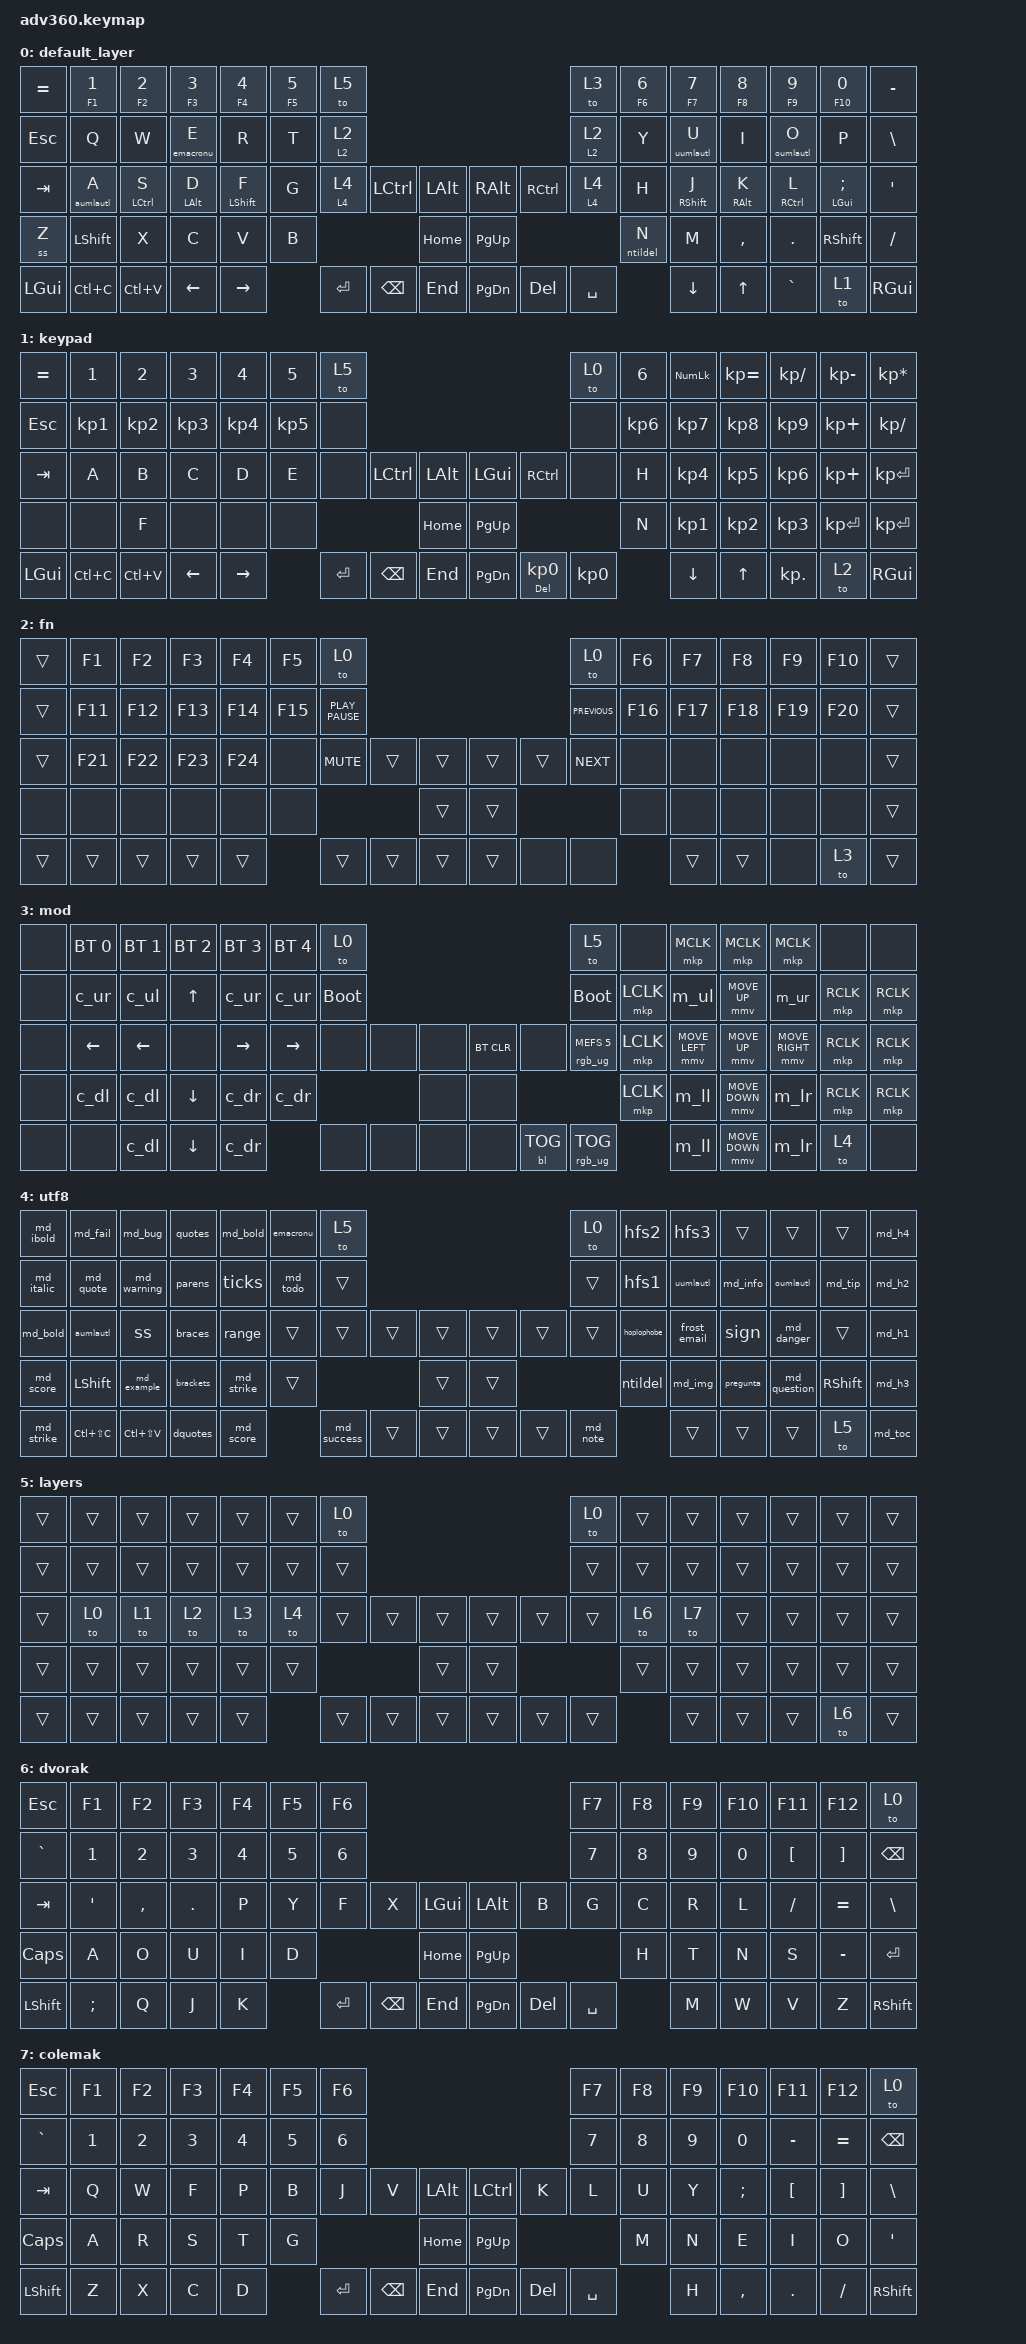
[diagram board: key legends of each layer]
#include <dt-bindings/zmk/mouse.h>
#include <behaviors.dtsi>
#include <dt-bindings/zmk/backlight.h>
#include <dt-bindings/zmk/bt.h>
#include <dt-bindings/zmk/keys.h>
#include <dt-bindings/zmk/pointing.h>
#include <dt-bindings/zmk/rgb.h>

/ {
    behaviors {
        #include "macros.dtsi"
      #include "version.dtsi"
      #ifndef VERSION_MACRO


        #endif

        hm: homerow_mods {
            compatible = "zmk,behavior-hold-tap";
            label = "HOMEROW_MODS";
            #binding-cells = <2>;
            tapping-term-ms = <200>;
            quick_tap_ms = <175>;
            flavor = "tap-preferred";
            bindings = <&kp>, <&kp>;
        };

        macrotapo: macrotapo {
            compatible = "zmk,behavior-hold-tap";
            label = "MACROTAPO";
            #binding-cells = <2>;
            tapping-term-ms = <200>;
            quick_tap_ms = <175>;
            flavor = "tap-preferred";
            bindings = <&oumlautl>, <&kp>;
        };

        macrotapu: macrotapu {
            compatible = "zmk,behavior-hold-tap";
            label = "MACROTAPU";
            #binding-cells = <2>;
            tapping-term-ms = <200>;
            quick_tap_ms = <175>;
            flavor = "tap-preferred";
            bindings = <&uumlautl>, <&kp>;
        };

        macrotapa: macrotapa {
            compatible = "zmk,behavior-hold-tap";
            label = "MACROTAPA";
            #binding-cells = <2>;
            tapping-term-ms = <200>;
            quick_tap_ms = <175>;
            flavor = "tap-preferred";
            bindings = <&aumlautl>, <&kp>;
        };

        macrotaps: macrotaps {
            compatible = "zmk,behavior-hold-tap";
            label = "MACROTAPS";
            #binding-cells = <2>;
            tapping-term-ms = <200>;
            quick_tap_ms = <175>;
            flavor = "tap-preferred";
            bindings = <&ss>, <&kp>;
        };

        macrotape: macrotape {
            compatible = "zmk,behavior-hold-tap";
            label = "MACROTAPE";
            #binding-cells = <2>;
            tapping-term-ms = <200>;
            quick_tap_ms = <175>;
            flavor = "tap-preferred";
            bindings = <&emacronu>, <&kp>;
        };

        macrotopn: macrotopn {
            compatible = "zmk,behavior-hold-tap";
            label = "MACROTOPN";
            #binding-cells = <2>;
            tapping-term-ms = <200>;
            quick_tap_ms = <175>;
            flavor = "tap-preferred";
            bindings = <&ntildel>, <&kp>;
        };

        macrotapfn: macrotapfn {
            compatible = "zmk,behavior-hold-tap";
            label = "MACROTAPFN";
            #binding-cells = <2>;
            tapping-term-ms = <200>;
            quick_tap_ms = <175>;
            flavor = "tap-preferred";
            bindings = <&kp>, <&kp>;
        };

        lmt: lmt {
            compatible = "zmk,behavior-hold-tap";
            label = "LMT";
            bindings = <&mo>, <&to>;

            #binding-cells = <2>;
            tapping-term-ms = <200>;
        };
    };

    macros {
        c_ul: c_ul {
            compatible = "zmk,behavior-macro";
            #binding-cells = <0>;
            bindings = <&kp UP_ARROW &kp LEFT>;
            label = "C_UL";
        };

        c_ur: c_ur {
            compatible = "zmk,behavior-macro";
            #binding-cells = <0>;
            bindings = <&kp UP_ARROW &kp RIGHT>;
            label = "C_UR";
        };

        c_dl: c_dl {
            compatible = "zmk,behavior-macro";
            #binding-cells = <0>;
            bindings = <&kp DOWN_ARROW &kp LEFT>;
            label = "C_DL";
        };

        c_dr: c_dr {
            compatible = "zmk,behavior-macro";
            #binding-cells = <0>;
            bindings = <&kp DOWN_ARROW &kp RIGHT>;
            label = "C_DR";
        };

        hoplophobe: hoplophobe {
            compatible = "zmk,behavior-macro";
            #binding-cells = <0>;
            bindings = <&kp LS(H) &kp O &kp P &kp L &kp O &kp P &kp H &kp O &kp B &kp E &kp N1 &kp EXCL &kp RET>;
            label = "HOPLOPHOBE";
        };

        aumlautl: aumlautl {
            compatible = "zmk,behavior-macro";
            #binding-cells = <0>;
            bindings = <&kp LG(A) &kp DOUBLE_QUOTES>;
            label = "AUMLAUTL";
        };

        ss: ss {
            compatible = "zmk,behavior-macro";
            #binding-cells = <0>;
            bindings = <&kp LG(S) &kp S>;
            label = "SS";
        };

        oumlautl: oumlautl {
            compatible = "zmk,behavior-macro";
            #binding-cells = <0>;
            bindings = <&kp LG(O) &kp DOUBLE_QUOTES>;
            label = "OUMLAUTL";
        };

        uumlautl: uumlautl {
            compatible = "zmk,behavior-macro";
            #binding-cells = <0>;
            bindings = <&kp LG(U) &kp DOUBLE_QUOTES>;
            label = "UUMLAUTL";
        };

        ntildel: ntildel {
            compatible = "zmk,behavior-macro";
            #binding-cells = <0>;
            bindings = <&kp LG(N) &kp TILDE>;
            label = "NTILDEL";
        };

        md_ibold: md_ibold {
            compatible = "zmk,behavior-macro";
            #binding-cells = <0>;
            bindings = <&kp STAR &kp STAR &kp STAR &kp STAR &kp STAR &kp STAR &kp LEFT_ARROW &kp LEFT_ARROW &kp LEFT>;
            label = "MD_IBOLD";
        };

        md_bold: md_bold {
            compatible = "zmk,behavior-macro";
            #binding-cells = <0>;
            bindings = <&kp STAR &kp STAR &kp STAR &kp STAR &kp LEFT_ARROW &kp LEFT>;
            label = "MD_BOLD";
        };

        md_italic: md_italic {
            compatible = "zmk,behavior-macro";
            #binding-cells = <0>;
            bindings = <&kp STAR &kp STAR &kp LEFT>;
            label = "MD_ITALIC";
        };

        md_score: md_score {
            compatible = "zmk,behavior-macro";
            #binding-cells = <0>;
            bindings = <&kp LT &kp U &kp GT &kp LT &kp FSLH &kp U &kp GT &kp LEFT_ARROW &kp LEFT &kp LEFT_ARROW &kp LEFT>;
            label = "MD_SCORE";
        };

        md_strike: md_strike {
            compatible = "zmk,behavior-macro";
            #binding-cells = <0>;
            bindings = <&kp TILDE &kp TILDE &kp TILDE &kp TILDE &kp LEFT_ARROW &kp LEFT>;
            label = "MD_STRIKE";
        };

        md_h4: md_h4 {
            compatible = "zmk,behavior-macro";
            #binding-cells = <0>;
            bindings = <&kp ESCAPE &kp LS(G) &kp LS(O) &kp ENTER &kp POUND &kp POUND &kp POUND &kp POUND &kp SPACE>;
            label = "MD_H4";
        };

        md_h3: md_h3 {
            compatible = "zmk,behavior-macro";
            #binding-cells = <0>;
            bindings = <&kp ESCAPE &kp LS(G) &kp LS(O) &kp POUND &kp POUND &kp POUND &kp SPACE>;
            label = "MD_H3";
        };

        md_h2: md_h2 {
            compatible = "zmk,behavior-macro";
            #binding-cells = <0>;
            bindings = <&kp ESCAPE &kp LS(G) &kp LS(O) &kp POUND &kp POUND &kp SPACE>;
            label = "MD_H2";
        };

        md_toc: md_toc {
            compatible = "zmk,behavior-macro";
            #binding-cells = <0>;
            bindings = <&kp ESCAPE &kp LS(G) &kp LS(O) &kp RET &kp LBKT &kp SPACE &kp LS(T) &kp LS(O) &kp LS(C) &kp SPACE &kp LBRC &kp SPACE>;
            label = "MD_TOC";
        };

        md_h1: md_h1 {
            compatible = "zmk,behavior-macro";
            #binding-cells = <0>;
            bindings = <&kp END &kp ESCAPE &kp LS(G) &kp LS(G) &kp LS(O) &kp RET &kp RET &kp RET &kp LS(E) &kp N &kp T &kp R &kp Y &kp COLON &kp SPACE &kp STAR &kp STAR &kp LA(D) &kp SPACE &kp LA(T) &kp SPACE &kp LS(C) &kp LS(S) &kp LS(T) &kp STAR &kp STAR &kp UP_ARROW &kp UP_ARROW &kp POUND &kp SPACE>;
            label = "MD_H1";
        };

        quotes: quotes {
            compatible = "zmk,behavior-macro";
            #binding-cells = <0>;
            bindings = <&kp SQT &kp SQT &kp LEFT>;
            label = "QUOTES";
        };

        parens: parens {
            compatible = "zmk,behavior-macro";
            #binding-cells = <0>;
            bindings = <&kp LPAR &kp RPAR &kp LEFT>;
            label = "PARENS";
        };

        braces: braces {
            compatible = "zmk,behavior-macro";
            #binding-cells = <0>;
            bindings = <&kp LEFT_BRACE &kp RBRC &kp LEFT>;
            label = "BRACES";
        };

        brackets: brackets {
            compatible = "zmk,behavior-macro";
            #binding-cells = <0>;
            bindings = <&kp LBKT &kp RIGHT_BRACKET &kp LEFT>;
            label = "BRACKETS";
        };

        dquotes: dquotes {
            compatible = "zmk,behavior-macro";
            #binding-cells = <0>;
            bindings = <&kp DQT &kp DQT &kp LEFT>;
            label = "DQUOTES";
        };

        ticks: ticks {
            compatible = "zmk,behavior-macro";
            #binding-cells = <0>;
            bindings = <&kp GRAVE &kp GRAVE &kp LEFT>;
            label = "TICKS";
        };

        range: range {
            compatible = "zmk,behavior-macro";
            #binding-cells = <0>;
            bindings = <&kp LT &kp GT &kp LEFT>;
            label = "RANGE";
        };

        emacronu: emacronu {
            compatible = "zmk,behavior-macro";
            #binding-cells = <0>;
            bindings = <&kp LG(LS(E)) &kp GT>;
            label = "EMACRONU";
        };

        sign: sign {
            compatible = "zmk,behavior-macro";
            #binding-cells = <0>;
            bindings = <&kp LS(K) &kp I &kp R &kp K &kp SPACE &kp LS(R) &kp O &kp Y &kp B &kp A &kp L>;
            label = "SIGN";
        };

        pregunta: pregunta {
            compatible = "zmk,behavior-macro";
            #binding-cells = <0>;
            bindings = <&kp LG(QMARK) &kp QMARK>;
            label = "PREGUNTA";
        };

        md_warning: md_warning {
            compatible = "zmk,behavior-macro";
            #binding-cells = <0>;
            bindings = <&kp GT &kp LBKT &kp EXCL &kp LS(W) &kp LS(A) &kp LS(R) &kp LS(N) &kp LS(I) &kp LS(N) &kp LS(G) &kp RIGHT_BRACKET &kp SPACE &kp LG(MINUS) &kp MINUS &kp MINUS &kp SPACE>;
            label = "MD_WARNING";
        };

        md_example: md_example {
            compatible = "zmk,behavior-macro";
            #binding-cells = <0>;
            bindings = <&kp GT &kp LBKT &kp EXCL &kp LS(E) &kp LS(X) &kp LS(A) &kp LS(M) &kp LS(P) &kp LS(L) &kp LS(E) &kp RIGHT_BRACKET &kp SPACE &kp LG(MINUS) &kp MINUS &kp MINUS &kp SPACE>;
            label = "MD_EXAMPLE";
        };

        md_question: md_question {
            compatible = "zmk,behavior-macro";
            #binding-cells = <0>;
            bindings = <&kp GT &kp LBKT &kp EXCL &kp LS(Q) &kp LS(U) &kp LS(E) &kp LS(S) &kp LS(T) &kp LS(I) &kp LS(O) &kp LS(N) &kp RIGHT_BRACKET &kp SPACE &kp LG(MINUS) &kp MINUS &kp MINUS &kp SPACE>;
            label = "MD_QUESTION";
        };

        md_success: md_success {
            compatible = "zmk,behavior-macro";
            #binding-cells = <0>;
            bindings = <&kp GT &kp LBKT &kp EXCL &kp LS(S) &kp LS(U) &kp LS(C) &kp LS(C) &kp LS(E) &kp LS(S) &kp LS(S) &kp RIGHT_BRACKET &kp SPACE &kp LG(MINUS) &kp MINUS &kp MINUS &kp SPACE>;
            label = "MD_SUCCESS";
        };

        md_fail: md_fail {
            compatible = "zmk,behavior-macro";
            #binding-cells = <0>;
            bindings = <&kp GT &kp LBKT &kp EXCL &kp LS(F) &kp LS(A) &kp LS(I) &kp LS(L) &kp LS(U) &kp LS(R) &kp LS(E) &kp RIGHT_BRACKET &kp SPACE &kp LG(MINUS) &kp MINUS &kp MINUS &kp SPACE>;
            label = "MD_FAIL";
        };

        md_danger: md_danger {
            compatible = "zmk,behavior-macro";
            #binding-cells = <0>;
            bindings = <&kp GT &kp LBKT &kp EXCL &kp LS(D) &kp LS(A) &kp LS(N) &kp LS(G) &kp LS(E) &kp LS(R) &kp RIGHT_BRACKET &kp SPACE &kp LG(MINUS) &kp MINUS &kp MINUS &kp SPACE>;
            label = "MD_DANGER";
        };

        md_quote: md_quote {
            compatible = "zmk,behavior-macro";
            #binding-cells = <0>;
            bindings = <&kp GT &kp LBKT &kp EXCL &kp LS(Q) &kp LS(U) &kp LS(O) &kp LS(T) &kp LS(E) &kp RIGHT_BRACKET &kp SPACE &kp LG(MINUS) &kp MINUS &kp MINUS &kp SPACE>;
            label = "MD_QUOTE";
        };

        md_todo: md_todo {
            compatible = "zmk,behavior-macro";
            #binding-cells = <0>;
            bindings = <&kp GT &kp LBKT &kp EXCL &kp LS(T) &kp LS(O) &kp LS(D) &kp LS(O) &kp RIGHT_BRACKET &kp SPACE &kp LG(MINUS) &kp MINUS &kp MINUS &kp SPACE>;
            label = "MD_TODO";
        };

        md_note: md_note {
            compatible = "zmk,behavior-macro";
            #binding-cells = <0>;
            bindings = <&kp GT &kp LBKT &kp EXCL &kp LS(N) &kp LS(O) &kp LS(T) &kp LS(E) &kp RIGHT_BRACKET &kp SPACE &kp LG(MINUS) &kp MINUS &kp MINUS &kp SPACE>;
            label = "MD_NOTE";
        };

        md_info: md_info {
            compatible = "zmk,behavior-macro";
            #binding-cells = <0>;
            bindings = <&kp GT &kp LBKT &kp EXCL &kp LS(I) &kp LS(N) &kp LS(F) &kp LS(O) &kp RIGHT_BRACKET &kp SPACE &kp LG(MINUS) &kp MINUS &kp MINUS &kp SPACE>;
            label = "MD_INFO";
        };

        md_bug: md_bug {
            compatible = "zmk,behavior-macro";
            #binding-cells = <0>;
            bindings = <&kp GT &kp LBKT &kp EXCL &kp LS(B) &kp LS(U) &kp LS(G) &kp RIGHT_BRACKET &kp SPACE &kp LG(MINUS) &kp MINUS &kp MINUS &kp SPACE>;
            label = "MD_BUG";
        };

        md_tip: md_tip {
            compatible = "zmk,behavior-macro";
            #binding-cells = <0>;
            bindings = <&kp GT &kp LBKT &kp EXCL &kp LS(T) &kp LS(I) &kp LS(P) &kp RIGHT_BRACKET &kp SPACE &kp LG(MINUS) &kp MINUS &kp MINUS &kp SPACE>;
            label = "MD_TIP";
        };

        md_img: md_img {
            compatible = "zmk,behavior-macro";
            #binding-cells = <0>;
            bindings = <&kp EXCL &kp LBKT &kp PIPE &kp N3 &kp N5 &kp N0 &kp RIGHT_BRACKET &kp LPAR &kp RPAR &kp HOME &kp RIGHT_ARROW &kp RIGHT>;
            label = "MD_IMG";
        };

        m_io: m_io {
            compatible = "zmk,behavior-macro";
            #binding-cells = <0>;
            bindings = <&kp I &kp O>;
            label = "M_IO";
        };

        frost_email: frost_email {
            compatible = "zmk,behavior-macro";
            #binding-cells = <0>;
            bindings = <&kp K &kp I &kp R &kp K &kp DOT &kp R &kp O &kp Y &kp B &kp A &kp L &kp AT &kp G &kp M &kp A &kp I &kp L &kp DOT &kp C &kp O &kp M>;
            label = "FROST_EMAIL";
        };

        hfs1: hfs1 {
            compatible = "zmk,behavior-macro";
            #binding-cells = <0>;
            bindings = <&kp LS(H) &kp A &kp N &kp G &kp LS(F) &kp I &kp R &kp E &kp LS(S) &kp Q &kp U &kp I &kp B &kp S &kp N1 &kp AT &kp RET>;
            label = "HFS1";
        };

        hfs2: hfs2 {
            compatible = "zmk,behavior-macro";
            #binding-cells = <0>;
            bindings = <&kp LS(H) &kp A &kp N &kp G &kp LS(F) &kp I &kp R &kp E &kp LS(S) &kp Q &kp U &kp I &kp B &kp S &kp N1 &kp EXCLAMATION &kp RET>;
            label = "HFS2";
        };

        hfs3: hfs3 {
            compatible = "zmk,behavior-macro";
            #binding-cells = <0>;
            bindings = <&kp LS(H) &kp A &kp N &kp G &kp LS(F) &kp I &kp R &kp E &kp LS(S) &kp Q &kp U &kp I &kp B &kp S &kp N1 &kp HASH &kp RET>;
            label = "HFS3";
        };

        m_ul: m_ul {
            compatible = "zmk,behavior-macro";
            #binding-cells = <0>;
            wait-ms = <0>;
            tap-ms = <0>;
            bindings =
                <&macro_press>,
                <&mmv MOVE_UP &mmv MOVE_LEFT>,
                <&macro_pause_for_release>,
                <&macro_release>,
                <&mmv MOVE_UP &mmv MOVE_LEFT>;
        };

        m_ur: m_ur {
            compatible = "zmk,behavior-macro";
            #binding-cells = <0>;
            wait-ms = <0>;
            tap-ms = <0>;
            bindings =
                <&macro_press>,
                <&mmv MOVE_UP &mmv MOVE_RIGHT>,
                <&macro_pause_for_release>,
                <&macro_release>,
                <&mmv MOVE_UP &mmv MOVE_RIGHT>;
        };

        m_ll: m_ll {
            compatible = "zmk,behavior-macro";
            #binding-cells = <0>;
            wait-ms = <0>;
            tap-ms = <0>;
            bindings =
                <&macro_press>,
                <&mmv MOVE_DOWN &mmv MOVE_LEFT>,
                <&macro_pause_for_release>,
                <&macro_release>,
                <&mmv MOVE_DOWN &mmv MOVE_LEFT>;
        };

        m_lr: m_lr {
            compatible = "zmk,behavior-macro";
            #binding-cells = <0>;
            wait-ms = <0>;
            tap-ms = <0>;
            bindings =
                <&macro_press>,
                <&mmv MOVE_DOWN &mmv MOVE_RIGHT>,
                <&macro_pause_for_release>,
                <&macro_release>,
                <&mmv MOVE_DOWN &mmv MOVE_RIGHT>;
        };
    };

    combos {
        compatible = "zmk,combos";

        io_rollover {
            bindings = <&m_io>;
            key-positions = <24 25>;
        };
    };

    keymap {
        compatible = "zmk,keymap";

        default_layer {
            bindings = <
&kp EQUAL       &mt F1 N1       &mt F2 N2    &mt F3 N3       &mt F4 N4    &mt F5 N5  &to 5                                                              &to 3      &mt F6 N6       &mt F7 N7       &mt F8 N8     &mt F9 N9       &mt F10 N0          &kp MINUS
&kp ESCAPE      &kp Q           &kp W        &macrotape 0 E  &kp R        &kp T      &lmt 2 2                                                           &lmt 2 2   &kp Y           &macrotapu 0 U  &kp I         &macrotapo 0 O  &kp P               &kp BSLH
&kp TAB         &macrotapa 0 A  &hm LCTRL S  &hm LALT D      &hm LSHFT F  &kp G      &lmt 4 4   &kp LCTRL      &kp LALT      &kp RIGHT_ALT  &kp RCTRL   &lmt 4 4   &kp H           &hm RSHIFT J    &hm RALT K    &hm RCTRL L     &hm LGUI SEMICOLON  &kp SQT
&macrotaps 0 Z  &kp LSHFT       &kp X        &kp C           &kp V        &kp B                                &kp HOME      &kp PG_UP                             &macrotopn 0 N  &kp M           &kp COMMA     &kp DOT         &kp RSHFT           &kp SLASH
&kp LGUI        &kp LC(C)       &kp LC(V)    &kp LEFT        &kp RIGHT               &kp ENTER  &kp BACKSPACE  &kp END       &kp PG_DN      &kp DELETE  &kp SPACE                  &kp DOWN_ARROW  &kp UP_ARROW  &kp GRAVE       &to 1               &kp RGUI
            >;
        };

        keypad {
            bindings = <
&kp EQUAL   &kp N1           &kp N2           &kp N3           &kp N4           &kp N5           &to 5                                                                   &to 0      &kp N6           &kp KP_NUM      &kp KP_EQUAL  &kp KP_DIVIDE  &kp KP_MINUS  &kp KP_MULTIPLY
&kp ESCAPE  &kp KP_NUMBER_1  &kp KP_NUMBER_2  &kp KP_NUMBER_3  &kp KP_NUMBER_4  &kp KP_NUMBER_5  &none                                                                   &none      &kp KP_NUMBER_6  &kp KP_N7       &kp KP_N8     &kp KP_N9      &kp KP_PLUS   &kp KP_DIVIDE
&kp TAB     &kp A            &kp B            &kp C            &kp D            &kp E            &none      &kp LCTRL      &kp LALT      &kp LGUI   &kp RCTRL            &none      &kp H            &kp KP_N4       &kp KP_N5     &kp KP_N6      &kp KP_PLUS   &kp KP_ENTER
&none       &none            &kp F            &none            &none            &none                                      &kp HOME      &kp PG_UP                                  &kp N            &kp KP_N1       &kp KP_N2     &kp KP_N3      &kp KP_ENTER  &kp KP_ENTER
&kp LGUI    &kp LC(C)        &kp LC(V)        &kp LEFT         &kp RIGHT                         &kp ENTER  &kp BACKSPACE  &kp END       &kp PG_DN  &mt DEL KP_NUMBER_0  &kp KP_N0                   &kp DOWN_ARROW  &kp UP_ARROW  &kp KP_DOT     &to 2         &kp RGUI
            >;
        };

        fn {
            bindings = <
&trans  &kp F1   &kp F2   &kp F3   &kp F4   &kp F5   &to 0                                                 &to 0           &kp F6   &kp F7   &kp F8   &kp F9   &kp F10  &trans
&trans  &kp F11  &kp F12  &kp F13  &kp F14  &kp F15  &kp K_PLAY_PAUSE                                      &kp K_PREVIOUS  &kp F16  &kp F17  &kp F18  &kp F19  &kp F20  &trans
&trans  &kp F21  &kp F22  &kp F23  &kp F24  &none    &kp K_MUTE        &trans  &trans      &trans  &trans  &kp K_NEXT      &none    &none    &none    &none    &none    &trans
&none   &none    &none    &none    &none    &none                              &trans      &trans                          &none    &none    &none    &none    &none    &trans
&trans  &trans   &trans   &trans   &trans            &trans            &trans  &trans      &trans  &none   &none                    &trans   &trans   &none    &to 3    &trans
            >;
        };

        mod {
            bindings = <
&none  &bt BT_SEL 0    &bt BT_SEL 1  &bt BT_SEL 2    &bt BT_SEL 3  &bt BT_SEL 4     &to 0                                                  &to 5                   &none      &mkp MCLK       &mkp MCLK       &mkp MCLK        &none      &none
&none  &c_ur           &c_ul         &kp UP_ARROW    &c_ur         &c_ur            &bootloader                                            &bootloader             &mkp LCLK  &m_ul           &mmv MOVE_UP    &m_ur            &mkp RCLK  &mkp RCLK
&none  &kp LEFT_ARROW  &kp LEFT      &none           &kp RIGHT     &kp RIGHT_ARROW  &none        &none  &none      &bt BT_CLR  &none       &rgb_ug RGB_MEFS_CMD 5  &mkp LCLK  &mmv MOVE_LEFT  &mmv MOVE_UP    &mmv MOVE_RIGHT  &mkp RCLK  &mkp RCLK
&none  &c_dl           &c_dl         &kp DOWN_ARROW  &c_dr         &c_dr                                &none      &none                                           &mkp LCLK  &m_ll           &mmv MOVE_DOWN  &m_lr            &mkp RCLK  &mkp RCLK
&none  &none           &c_dl         &kp DOWN_ARROW  &c_dr                          &none        &none  &none      &none       &bl BL_TOG  &rgb_ug RGB_TOG                    &m_ll           &mmv MOVE_DOWN  &m_lr            &to 4      &none
            >;
        };

        utf8 {
            bindings = <
&md_ibold   &md_fail       &md_bug        &quotes    &md_bold    &emacronu  &to 5                                            &to 0     &hfs2        &hfs3         &trans     &trans        &trans      &md_h4
&md_italic  &md_quote      &md_warning    &parens    &ticks      &md_todo   &trans                                           &trans    &hfs1        &uumlautl     &md_info   &oumlautl     &md_tip     &md_h2
&md_bold    &aumlautl      &ss            &braces    &range      &trans     &trans       &trans  &trans      &trans  &trans  &trans    &hoplophobe  &frost_email  &sign      &md_danger    &trans      &md_h1
&md_score   &kp LSHIFT     &md_example    &brackets  &md_strike  &trans                          &trans      &trans                    &ntildel     &md_img       &pregunta  &md_question  &kp RSHIFT  &md_h3
&md_strike  &kp LC(LS(C))  &kp LC(LS(V))  &dquotes   &md_score              &md_success  &trans  &trans      &trans  &trans  &md_note               &trans        &trans     &trans        &to 5       &md_toc
            >;
        };

        layers {
            bindings = <
&trans  &trans  &trans  &trans  &trans  &trans  &to 0                                       &to 0   &trans  &trans  &trans  &trans  &trans  &trans
&trans  &trans  &trans  &trans  &trans  &trans  &trans                                      &trans  &trans  &trans  &trans  &trans  &trans  &trans
&trans  &to 0   &to 1   &to 2   &to 3   &to 4   &trans  &trans  &trans      &trans  &trans  &trans  &to 6   &to 7   &trans  &trans  &trans  &trans
&trans  &trans  &trans  &trans  &trans  &trans                  &trans      &trans                  &trans  &trans  &trans  &trans  &trans  &trans
&trans  &trans  &trans  &trans  &trans          &trans  &trans  &trans      &trans  &trans  &trans          &trans  &trans  &trans  &to 6   &trans
            >;
        };

        dvorak {
            bindings = <
&kp ESC    &kp F1    &kp F2     &kp F3   &kp F4  &kp F5  &kp F6                                               &kp F7     &kp F8  &kp F9  &kp F10  &kp F11   &kp F12    &to 0
&kp GRAVE  &kp N1    &kp N2     &kp N3   &kp N4  &kp N5  &kp N6                                               &kp N7     &kp N8  &kp N9  &kp N0   &kp LBKT  &kp RBKT   &kp BSPC
&kp TAB    &kp APOS  &kp COMMA  &kp DOT  &kp P   &kp Y   &kp F    &kp X     &kp LGUI      &kp LALT   &kp B    &kp G      &kp C   &kp R   &kp L    &kp FSLH  &kp EQUAL  &kp BSLH
&kp CAPS   &kp A     &kp O      &kp U    &kp I   &kp D                      &kp HOME      &kp PG_UP                      &kp H   &kp T   &kp N    &kp S     &kp MINUS  &kp ENTER
&kp LSHFT  &kp SEMI  &kp Q      &kp J    &kp K           &kp RET  &kp BSPC  &kp END       &kp PG_DN  &kp DEL  &kp SPACE          &kp M   &kp W    &kp V     &kp Z      &kp RSHFT
            >;
        };

        colemak {
            bindings = <
&kp ESC    &kp F1  &kp F2  &kp F3  &kp F4  &kp F5  &kp F6                                               &kp F7     &kp F8  &kp F9  &kp F10    &kp F11    &kp F12    &to 0
&kp GRAVE  &kp N1  &kp N2  &kp N3  &kp N4  &kp N5  &kp N6                                               &kp N7     &kp N8  &kp N9  &kp N0     &kp MINUS  &kp EQUAL  &kp BSPC
&kp TAB    &kp Q   &kp W   &kp F   &kp P   &kp B   &kp J    &kp V     &kp LALT      &kp LCTRL  &kp K    &kp L      &kp U   &kp Y   &kp SEMI   &kp LBKT   &kp RBKT   &kp BSLH
&kp CAPS   &kp A   &kp R   &kp S   &kp T   &kp G                      &kp HOME      &kp PG_UP                      &kp M   &kp N   &kp E      &kp I      &kp O      &kp APOS
&kp LSHFT  &kp Z   &kp X   &kp C   &kp D           &kp RET  &kp BSPC  &kp END       &kp PG_DN  &kp DEL  &kp SPACE          &kp H   &kp COMMA  &kp DOT    &kp FSLH   &kp RSHFT
            >;
        };
    };
};
